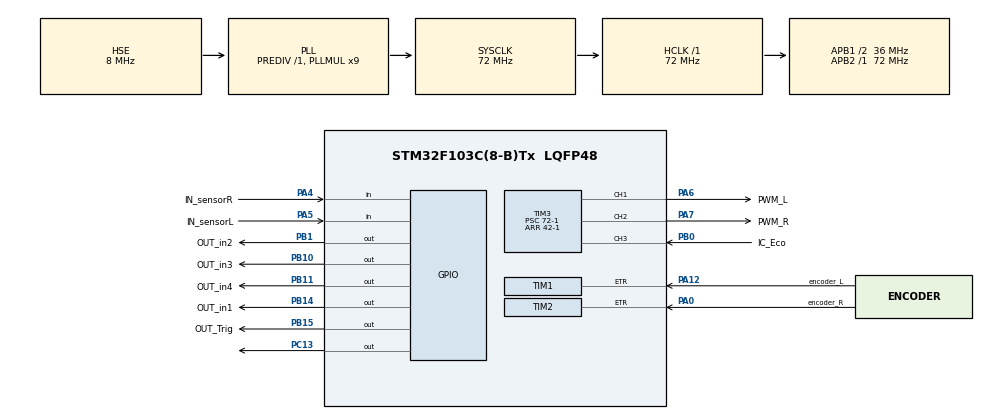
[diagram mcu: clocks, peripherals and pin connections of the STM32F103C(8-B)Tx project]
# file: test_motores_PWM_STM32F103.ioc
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Mcu.Family=STM32F1
Mcu.Name=STM32F103C(8-B)Tx
Mcu.Package=LQFP48
NVIC.PriorityGroup=NVIC_PRIORITYGROUP_4
NVIC.TIM3_IRQn=true\:0\:0\:false\:false\:true\:true\:true
NVIC.TIM4_IRQn=true\:0\:0\:false\:false\:true\:true\:true
PA0-WKUP.GPIO_Label=encoder_R
PA0-WKUP.Signal=S_TIM2_CH1_ETR
PA12.GPIO_Label=encoder_L
PA12.Signal=S_TIM1_ETR
PA13.Mode=Serial_Wire
PA13.Signal=SYS_JTMS-SWDIO
PA14.Mode=Serial_Wire
PA14.Signal=SYS_JTCK-SWCLK
PA4.GPIO_Label=IN_sensorR
PA4.GPIO_PuPd=GPIO_PULLUP
PA4.Signal=GPIO_Input
PA5.GPIO_Label=IN_sensorL
PA5.GPIO_PuPd=GPIO_PULLUP
PA5.Signal=GPIO_Input
PA6.GPIO_Label=PWM_L
PA6.Signal=S_TIM3_CH1
PA7.GPIO_Label=PWM_R
PA7.Signal=S_TIM3_CH2
PB0.GPIO_Label=IC_Eco
PB0.Signal=S_TIM3_CH3
PB1.GPIO_Label=OUT_in2
PB1.Signal=GPIO_Output
PB10.GPIO_Label=OUT_in3
PB10.Signal=GPIO_Output
PB11.GPIO_Label=OUT_in4
PB11.Signal=GPIO_Output
PB14.GPIO_Label=OUT_in1
PB14.Signal=GPIO_Output
PB15.GPIO_Label=OUT_Trig
PB15.Signal=GPIO_Output
PC13-TAMPER-RTC.Signal=GPIO_Output
PD0-OSC_IN.Mode=HSE-External-Oscillator
PD0-OSC_IN.Signal=RCC_OSC_IN
PD1-OSC_OUT.Mode=HSE-External-Oscillator
PD1-OSC_OUT.Signal=RCC_OSC_OUT
ProjectManager.HeapSize=0x200
ProjectManager.StackSize=0x400
ProjectManager.TargetToolchain=STM32CubeIDE
RCC.AHBFreq_Value=72000000
RCC.APB1CLKDivider=RCC_HCLK_DIV2
RCC.APB1Freq_Value=36000000
RCC.APB1TimFreq_Value=72000000
RCC.APB2Freq_Value=72000000
RCC.APB2TimFreq_Value=72000000
RCC.HCLKFreq_Value=72000000
RCC.PLLMUL=RCC_PLL_MUL9
RCC.PLLSourceVirtual=RCC_PLLSOURCE_HSE
RCC.SYSCLKFreq_VALUE=72000000
RCC.SYSCLKSource=RCC_SYSCLKSOURCE_PLLCLK
RCC.USBFreq_Value=72000000
SH.S_TIM1_ETR.0=TIM1_ETR,ClockSourceETR_Mode2
SH.S_TIM2_CH1_ETR.0=TIM2_ETR,ClockSourceETR_Mode2
SH.S_TIM3_CH1.0=TIM3_CH1,PWM Generation1 CH1
SH.S_TIM3_CH2.0=TIM3_CH2,PWM Generation2 CH2
SH.S_TIM3_CH3.0=TIM3_CH3,Input_Capture3_from_TI3
SH.S_TIM3_CH3.1=TIM3_CH3,Input_Capture4_from_TI3
TIM3.Channel-Input_Capture3_from_TI3=TIM_CHANNEL_3
TIM3.Channel-Input_Capture4_from_TI3=TIM_CHANNEL_4
TIM3.Channel-PWM\ Generation1\ CH1=TIM_CHANNEL_1
TIM3.Channel-PWM\ Generation2\ CH2=TIM_CHANNEL_2
TIM3.ICPolarity_CH4=TIM_INPUTCHANNELPOLARITY_FALLING
TIM3.Period=42-1
TIM3.Prescaler=72-1
TIM3.Pulse-PWM\ Generation1\ CH1=30-1
TIM3.Pulse-PWM\ Generation2\ CH2=30-1
TIM4.Period=1000-1
TIM4.Prescaler=720-1
VP_TIM3_VS_ClockSourceINT.Mode=Internal
VP_TIM4_VS_ClockSourceINT.Mode=Internal
board=custom

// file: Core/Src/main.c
/* USER CODE BEGIN Header */
/**
  ******************************************************************************
  * @file           : main.c
  * @brief          : Main program body
  ******************************************************************************
  * @attention
  *
  * <h2><center>&copy; Copyright (c) 2021 STMicroelectronics.
  * All rights reserved.</center></h2>
  *
  * This software component is licensed by ST under BSD 3-Clause license,
  * the "License"; You may not use this file except in compliance with the
  * License. You may obtain a copy of the License at:
  *                        opensource.org/licenses/BSD-3-Clause
  *
  ******************************************************************************
  */
/* USER CODE END Header */
#include "main.h"
#include "tim.h"
#include "gpio.h"

/* USER CODE BEGIN PTD */

typedef enum{
	QUIETO,
	AVANZANDO,
	RETROCEDIENDO,
	ROTANDO_IZQ,
	ROTANDO_DER,
	PIVOTE_IZQ_AVAN,
	PIVOTE_DER_AVAN,
	PIVOTE_IZQ_RETR,
	PIVOTE_DER_RETR,
}T_MOV;

/* USER CODE END PTD */

/* USER CODE BEGIN PV */

//variables de control
T_MOV status_movimiento = QUIETO;
T_MOV last_movimiento = QUIETO;
uint8_t SI, SF, SD;

uint8_t sensores_dist = 0;

//variables del HC-SR04
uint16_t desbordeTIM3 = 0; //desborda cada 42 us.
uint16_t desbordeSysTick = 0; //desborda cada 10 ms.
uint32_t ic1 = 0, ic2 = 0; //capturas de los flancos
uint16_t cuentasDesbordes = 0;
uint32_t cuentaPulsos = 0;
uint8_t flagEco;
uint8_t statusBurst = 0;
uint8_t delayTrig = 0;
uint16_t distancia = 400;
int16_t encoder1 = 0;
int16_t encoder2 = 0;

//variables

/* USER CODE END PV */

void SystemClock_Config(void);

int main(void)
{

  /* MCU Configuration--------------------------------------------------------*/

  /* Reset of all peripherals, Initializes the Flash interface and the Systick. */
  HAL_Init();

  /* Configure the system clock */
  SystemClock_Config();

  /* Initialize all configured peripherals */
  MX_GPIO_Init();
  MX_TIM3_Init();
  MX_TIM1_Init();
  MX_TIM2_Init();
  MX_TIM4_Init();
  /* USER CODE BEGIN 2 */
  HAL_GPIO_WritePin(OUT_in1_GPIO_Port, OUT_in1_Pin, 1);
  HAL_GPIO_WritePin(OUT_in2_GPIO_Port, OUT_in2_Pin, 1);

  HAL_TIM_Base_Start_IT(&htim4);
  HAL_TIM_Base_Start(&htim1); //encoder
  HAL_TIM_Base_Start(&htim2); //encoder
//  HAL_TIM_Encoder_Start(&htim3, TIM_CHANNEL_1);
//  HAL_TIM_Encoder_Start(&htim4, TIM_CHANNEL_1);

  HAL_TIM_Base_Start_IT(&htim3);
  HAL_TIM_PWM_Start(&htim3, TIM_CHANNEL_1);
  HAL_TIM_PWM_Start(&htim3, TIM_CHANNEL_2);
  HAL_TIM_IC_Start_IT(&htim3, TIM_CHANNEL_3);
  HAL_TIM_IC_Start_IT(&htim3, TIM_CHANNEL_4);

  /* USER CODE END 2 */

  /* Infinite loop */
  /* USER CODE BEGIN WHILE */
  while (1)
  {
	  switch (statusBurst){
		  case 0:

			  if (desbordeTIM3 < 3572) break; //3572 = 150 ms aprox; 2380 = 100 ms aprox.

			  HAL_GPIO_WritePin(OUT_Trig_GPIO_Port, OUT_Trig_Pin, 1);

			  delayTrig = 10 + (uint8_t)__HAL_TIM_GET_COUNTER (&htim3);
			  if (delayTrig > 32){
				  delayTrig -= 32;
				  while (__HAL_TIM_GET_COUNTER (&htim3) > 32);
			  }
			  while (__HAL_TIM_GET_COUNTER (&htim3) < delayTrig);

			  HAL_GPIO_WritePin(OUT_Trig_GPIO_Port, OUT_Trig_Pin, 0);

			  desbordeTIM3 = 0;

			  statusBurst = 1;
		  break;
		  case 1:

			  if (desbordeTIM3 > 595){ // 25 ms.
				  statusBurst = 0;
				  break;
			  }

			  if (flagEco != 0){
				  flagEco = 0;
				  statusBurst = 2;
			  }
		  break;
		  case 2:
			  if (cuentasDesbordes != 0){
				  cuentaPulsos = 42 * cuentasDesbordes + ic2 - ic1;
			  }

			  if (cuentaPulsos < 25000){
				  distancia = cuentaPulsos * 34 / 2000;
			  }else{
				  distancia = 400;
			  }

			  statusBurst = 0;
			  desbordeTIM3 = 0;
		  break;

	  } //fin switch (statusBurst)

	  if (desbordeSysTick > 21){
		  encoder1 = __HAL_TIM_GET_COUNTER(&htim1);
		  __HAL_TIM_SET_COUNTER(&htim1, 0);
		  encoder2 = __HAL_TIM_GET_COUNTER(&htim2);
		  __HAL_TIM_SET_COUNTER(&htim2, 0);

		  if (encoder1 > 5){
			  TIM3->CCR1--;
		  }else if (encoder2 < 5){
			  TIM3->CCR1++;
		  }

		  if (encoder2 > 5){
			  TIM3->CCR2--;
		  }else if (encoder2 < 5){
			  TIM3->CCR2++;
		  }

		  desbordeSysTick = 0;
	  }

	  //sensores_dist = SI << 2 | SF << 1 | SD (logica negativa)

	  SI = (HAL_GPIO_ReadPin(IN_sensorL_GPIO_Port, IN_sensorL_Pin)) ;
	  SD = HAL_GPIO_ReadPin(IN_sensorR_GPIO_Port, IN_sensorR_Pin);
	  if (distancia < 25) SF = 0; else SF = 1;

	  sensores_dist = SI << 2 | SF << 1 | SD;

	  switch (status_movimiento) {
		  case QUIETO:

			  HAL_GPIO_WritePin(OUT_in1_GPIO_Port, OUT_in1_Pin, 0);
			  HAL_GPIO_WritePin(OUT_in1_GPIO_Port, OUT_in4_Pin, 0);

			  HAL_GPIO_WritePin(OUT_in1_GPIO_Port, OUT_in2_Pin, 0);
			  HAL_GPIO_WritePin(OUT_in1_GPIO_Port, OUT_in3_Pin, 0);

			  status_movimiento = AVANZANDO;
			  break;
		  case AVANZANDO:

			  HAL_GPIO_WritePin(OUT_in1_GPIO_Port, OUT_in1_Pin, 1);
			  HAL_GPIO_WritePin(OUT_in1_GPIO_Port, OUT_in4_Pin, 1);

			  HAL_GPIO_WritePin(OUT_in1_GPIO_Port, OUT_in2_Pin, 0);
			  HAL_GPIO_WritePin(OUT_in1_GPIO_Port, OUT_in3_Pin, 0);

			  switch (sensores_dist) {
				  case 0b110:
				  case 0b101:
				  case 0b100:
				  case 0b000:
					  status_movimiento = ROTANDO_IZQ;
					  break;
				  case 0b011:
				  case 0b001:
					  status_movimiento = ROTANDO_DER;
					  break;
				  default:
					  break;
			  } //end switch sensores_dist

		  break;
		  case ROTANDO_IZQ:

			  HAL_GPIO_WritePin(OUT_in1_GPIO_Port, OUT_in1_Pin, 0);
			  HAL_GPIO_WritePin(OUT_in1_GPIO_Port, OUT_in4_Pin, 1);

			  HAL_GPIO_WritePin(OUT_in1_GPIO_Port, OUT_in2_Pin, 1);
			  HAL_GPIO_WritePin(OUT_in1_GPIO_Port, OUT_in3_Pin, 0);

			  switch (sensores_dist){
				  case 0b111:
					  status_movimiento = AVANZANDO;
					  break;
				  case 0b011:
					  status_movimiento = ROTANDO_DER;
				  default:
				  break;
			  } //end switch sensores_dist

		  break;
		  case ROTANDO_DER:
			  HAL_GPIO_WritePin(OUT_in1_GPIO_Port, OUT_in1_Pin, 1);
			  HAL_GPIO_WritePin(OUT_in1_GPIO_Port, OUT_in4_Pin, 0);

			  HAL_GPIO_WritePin(OUT_in1_GPIO_Port, OUT_in2_Pin, 0);
			  HAL_GPIO_WritePin(OUT_in1_GPIO_Port, OUT_in3_Pin, 1);

			  switch (sensores_dist){
				  case 0b111:
					  status_movimiento = AVANZANDO;
				  break;
				  case 0b110:
					  status_movimiento = ROTANDO_IZQ;
				  default:
				  break;
			  } //end switch sensores_dist

			  break;
			  case RETROCEDIENDO:
				  HAL_GPIO_WritePin(OUT_in1_GPIO_Port, OUT_in1_Pin, 0);
				  HAL_GPIO_WritePin(OUT_in1_GPIO_Port, OUT_in4_Pin, 0);

				  HAL_GPIO_WritePin(OUT_in1_GPIO_Port, OUT_in2_Pin, 1);
				  HAL_GPIO_WritePin(OUT_in1_GPIO_Port, OUT_in3_Pin, 1);
			  break;
			  case PIVOTE_IZQ_AVAN:

			  break;
			  case PIVOTE_DER_AVAN:

			  default:
			  break;
	  } //fin switch status_movimiento

    /* USER CODE END WHILE */

  }
}

void SystemClock_Config(void)
{
  RCC_OscInitTypeDef RCC_OscInitStruct = {0};
  RCC_ClkInitTypeDef RCC_ClkInitStruct = {0};

  /** Initializes the RCC Oscillators according to the specified parameters
  * in the RCC_OscInitTypeDef structure.
  */
  RCC_OscInitStruct.OscillatorType = RCC_OSCILLATORTYPE_HSE;
  RCC_OscInitStruct.HSEState = RCC_HSE_ON;
  RCC_OscInitStruct.HSEPredivValue = RCC_HSE_PREDIV_DIV1;
  RCC_OscInitStruct.HSIState = RCC_HSI_ON;
  RCC_OscInitStruct.PLL.PLLState = RCC_PLL_ON;
  RCC_OscInitStruct.PLL.PLLSource = RCC_PLLSOURCE_HSE;
  RCC_OscInitStruct.PLL.PLLMUL = RCC_PLL_MUL9;
  if (HAL_RCC_OscConfig(&RCC_OscInitStruct) != HAL_OK)
  {
    Error_Handler();
  }
  /** Initializes the CPU, AHB and APB buses clocks
  */
  RCC_ClkInitStruct.ClockType = RCC_CLOCKTYPE_HCLK|RCC_CLOCKTYPE_SYSCLK
                              |RCC_CLOCKTYPE_PCLK1|RCC_CLOCKTYPE_PCLK2;
  RCC_ClkInitStruct.SYSCLKSource = RCC_SYSCLKSOURCE_PLLCLK;
  RCC_ClkInitStruct.AHBCLKDivider = RCC_SYSCLK_DIV1;
  RCC_ClkInitStruct.APB1CLKDivider = RCC_HCLK_DIV2;
  RCC_ClkInitStruct.APB2CLKDivider = RCC_HCLK_DIV1;

  if (HAL_RCC_ClockConfig(&RCC_ClkInitStruct, FLASH_LATENCY_2) != HAL_OK)
  {
    Error_Handler();
  }
}

/* USER CODE BEGIN 4 */

void HAL_TIM_PeriodElapsedCallback(TIM_HandleTypeDef *htim){
	if (htim->Instance==TIM3){
		desbordeTIM3++;
	}

	if (htim->Instance==TIM4){
		desbordeSysTick++;
	}

}

void HAL_TIM_IC_CaptureCallback(TIM_HandleTypeDef *htim){
	if (htim->Channel == HAL_TIM_ACTIVE_CHANNEL_3){
		//HAL_TIM_ReadCapturedValue(htim, HAL_TIM_ACTIVE_CHANNEL_3);
		ic1 = htim->Instance->CCR3;
		desbordeTIM3 = 0;
	}

	if (htim->Channel == HAL_TIM_ACTIVE_CHANNEL_4){
		ic2 = htim->Instance->CCR4;
		cuentasDesbordes = desbordeTIM3;
		flagEco = 1;
	}
}

/* USER CODE END 4 */

void Error_Handler(void)
{
}

/************************ (C) COPYRIGHT STMicroelectronics *****END OF FILE****/
